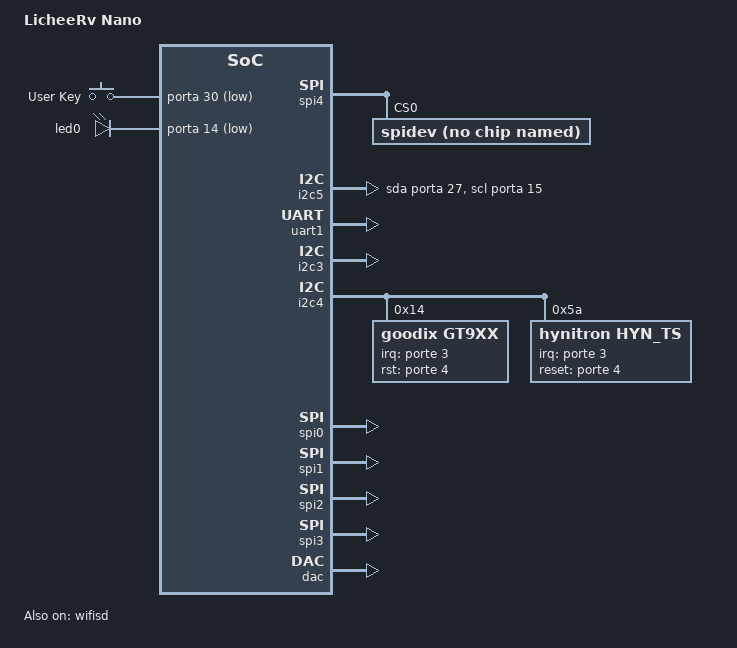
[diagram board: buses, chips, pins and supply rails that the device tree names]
/dts-v1/;
#include "sg200x_base_riscv.dtsi"
#include "sg200x_asic_qfn.dtsi"
#include "sg200x_asic_sd.dtsi"
#include "sg200x_default_memmap.dtsi"

#include <dt-bindings/input/linux-event-codes.h>
#include <dt-bindings/gpio/gpio.h>
#include <dt-bindings/leds/common.h>
#ifndef __UBOOT__
#include <dt-bindings/mailbox/cvitek-mailbox.h>
#endif

&sd {
        min-frequency = <400000>; // 400Khz
        //max-frequency = <50000000>; // 50Mhz
        max-frequency = <25000000>; // 25Mhz
        //max-frequency = <10000000>; // 10Mhz
        //max-frequency = <5000000>; // 5Mhz
};


&uart1 {
        status = "okay";
};


&i2c2 {
        status = "disabled";
        /delete-property/ scl-pinmux;
        /delete-property/ sda-pinmux;
        /delete-property/ scl-gpios;
        /delete-property/ sda-gpios;
};

&i2c3 {
        status = "okay";
        /delete-property/ scl-pinmux;
        /delete-property/ sda-pinmux;
        /delete-property/ scl-gpios;
        /delete-property/ sda-gpios;
};

&i2c4 {
        status = "okay";
        gt9xx: gt9xx@14 {
                compatible = "goodix,gt9xx";
                reg = <0x14>;
                goodix,irq-gpio = <&porte 3 0>;
                goodix,rst-gpio = <&porte 4 0>;
                status = "okay";
        };
        hynitron: hynitron@5a {
                compatible = "hynitron,hyn_ts", "hyn,7xx";
                reg = <0x5a>;
                irq-gpio = <&porte 3 0>;
                hynitron,irq-gpio = <&porte 3 0>;
                reset-gpio = <&porte 4 0>;
                hynitron,reset-gpio = <&porte 4 0>;
                max-touch-number = <5>;
                hynitron,max-touch-number = <5>;
                display-coords = <0 0 480 640>;
                hynitron,display-coords = <368 552>;
                pos-swap = <0>;
                posx-reverse = <1>;
                posy-reverse = <1>;
                status = "okay";
        };
};

&spi0 {
	status = "okay";
};

&spi1 {
	status = "okay";
};

&spi2 {
	status = "okay";

        // /delete-node/ spidev@0;
        st7789: st7789@0{
		compatible = "sitronix,st7789";
		reg = <0>;
		status = "disabled";
		spi-max-frequency = <80000000>;
		spi-cpol;
		spi-cpha;
		rotate = <0>;
		fps = <60>;
		rgb;
		buswidth = <8>;
		dc = <&porte 20 GPIO_ACTIVE_HIGH>;
		reset = <&porta 14 GPIO_ACTIVE_LOW>;
		debug = <0>;
	};
};

&spi3 {
	status = "okay";
};

&dac {
        status = "okay";
        /delete-property/ mute-gpio-r;
};

&soc_thermal_0 {
	cooling-maps {
		map0 {
			trip = <&soc_thermal_trip_0>;
			cooling-device = <&cooling THERMAL_NO_LIMIT 1>;
		};
		map1 {
			trip = <&soc_thermal_trip_1>;
			cooling-device = <&cooling THERMAL_NO_LIMIT THERMAL_NO_LIMIT>;
		};
	};
};

/ {
        model = "LicheeRv Nano";

        spi4: spi4@gpio {
		compatible = "spi-gpio";
		sck-gpio = <&porta 22 0>;
		miso-gpio = <&porta 23 0>;
		mosi-gpio = <&porta 25 0>;
		cs-gpio = <&porta 24 GPIO_ACTIVE_LOW>;
		num-chipselects = <1>;
		status = "okay";

		spidev@0 {
			compatible = "spidev";
			reg = <0>;
		};
	};

        i2c5: i2c5@gpio {
                compatible = "i2c-gpio";
                scl-gpios = <&porta 15 (GPIO_ACTIVE_HIGH | GPIO_OPEN_DRAIN)>;
                sda-gpios = <&porta 27 (GPIO_ACTIVE_HIGH | GPIO_OPEN_DRAIN)>;
                i2c-gpio,delay-us = <5>;
                status = "okay";
        };

	/delete-node/ wifi_pin;
	/delete-node/ bt_pin;

        gpio-keys {
                compatible = "gpio-keys";
                key-user {
                        label = "User Key";
                        linux,code = <KEY_DISPLAYTOGGLE>;
                        debounce-interval = <1>;
                        gpios = <&porta 30 1>;
                };
        };

        wifisd:wifi-sd@4320000 {
                compatible = "cvitek,cv181x-sdio";
                bus-width = <4>;
                reg = <0x0 0x4320000 0x0 0x1000>;
                reg_names = "core_mem";
                src-frequency = <375000000>;
                min-frequency = <400000>; // 400Khz
                //max-frequency = <50000000>; // 50Mhz
                //max-frequency = <45000000>; // 45Mhz
                //max-frequency = <40000000>; // 40Mhz
                //max-frequency = <35000000>; // 35Mhz
                //max-frequency = <30000000>; // 30Mhz
                max-frequency = <25000000>; // 25Mhz
                //max-frequency = <20000000>; // 20Mhz
                //max-frequency = <15000000>; // 15Mhz
                //max-frequency = <10000000>; // 10Mhz
                //max-frequency = <5000000>; // 5Mhz
                64_addressing;
                reset_tx_rx_phy;
                non-removable;
                pll_index = <0x7>;
                pll_reg = <0x300207C>;
                no-mmc;
                no-sd;
                status = "okay";
                interrupts = <38 IRQ_TYPE_LEVEL_HIGH>;
                interrupt-parent = <&plic0>;
        };

        leds {
        	compatible = "gpio-leds";
	        led0 {
		        gpios = <&porta 14 GPIO_ACTIVE_LOW>;
		        linux,default-trigger = "heartbeat";
		        function = LED_FUNCTION_HEARTBEAT;
	        };
        };
#ifndef __UBOOT__
        mbox: mbox@0x01900000 {
                compatible = "cvitek,sg200x-mailbox";
		reg = <0x0 0x01900000 0x0 0x1000>;
		reg-names = "mailbox";
                interrupts	= <101 IRQ_TYPE_LEVEL_HIGH>;
                interrupt-parent = <&plic0>;
                status = "okay";
                #mbox-cells = <4>;
        };

        cv181x-c906_1 {
		compatible	= "cvitek,cv181x-c906_1";
		memory-region	= <&fast_image &vdev0vring0 &vdev0vring1 &vdev0buffer>;
                firmware        = "c906-mcu.elf";
                resets		= <&rst RST_C906_1>;
		reset-names	= "sw_reset";
                clocks		= <&clk CV181X_CLK_C906_1>;
                clock-names     = "clk_c906_1";
                mboxes		= <&mbox 0 CVITEK_MBOX_DIRECTION_TX CVITEK_MBOX_C906_1 1>, <&mbox 1 CVITEK_MBOX_DIRECTION_RX CVITEK_MBOX_C906_1 1>;
	        mbox-names	= "vq_tx", "vq_rx";
                status		= "okay";
	};
#endif
};
